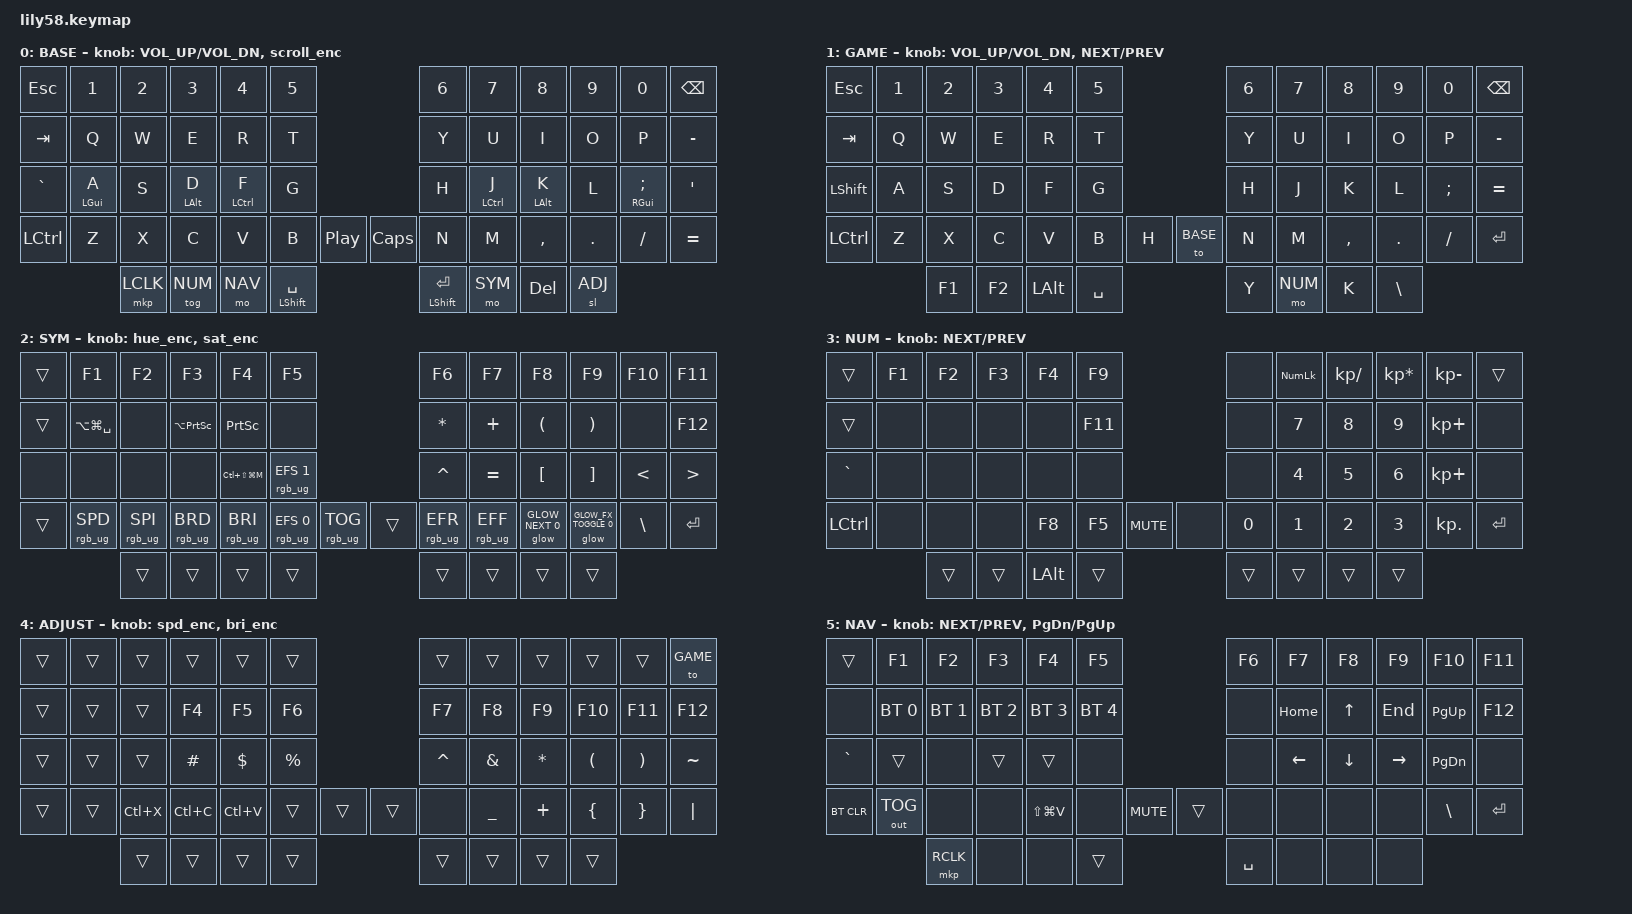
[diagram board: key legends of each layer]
/*
 * Sina's Lily58 keymap, ported from the Lulu QMK keymap
 * (docs/qmk-src/keymap.c and lulu_sina_keymap_cheatsheet_plain_english.html).
 *
 * Rows: 12 / 12 / 12 / 14 (L1-L6, inner left, inner right, R1-R6) / 8 thumbs
 * (T1-T4 left outer to inner, T5-T8 right inner to outer).
 *
 * Knobs: sensor-bindings are <left right>, first value = clockwise.
 */

#include <behaviors.dtsi>
#include <dt-bindings/zmk/keys.h>
#include <dt-bindings/zmk/bt.h>
#include <dt-bindings/zmk/outputs.h>
#include <dt-bindings/zmk/rgb.h>
#include <dt-bindings/zmk/pointing.h>

#define BASE 0
#define GAME 1
#define SYM  2
#define NUM  3
#define ADJ  4
#define NAV  5

/* &glow commands (config/boards/shields/lily_glow/glow.h) */
#define GLOW_NEXT      0
#define GLOW_FX_TOGGLE 2

/* ADJUST is a one-shot like QMK's OSL, which never timed out; give it a minute */
&sl {
    release-after-ms = <60000>;
};

/ {
    behaviors {
        /* Home-row and thumb mods. Balanced = QMK PERMISSIVE_HOLD: F held while
         * another key is tapped resolves as Ctrl (Ctrl+C, not "fc"). */
        hm: home_row_mod {
            compatible = "zmk,behavior-hold-tap";
            #binding-cells = <2>;
            flavor = "balanced";
            tapping-term-ms = <200>;
            quick-tap-ms = <200>;
            bindings = <&kp>, <&kp>;
        };

        /* One wheel step per knob click: &msc only scrolls while held, so hold
         * it 20 ms (one 16 ms tick) at a speed that rounds to one step */
        scroll_enc: scroll_encoder {
            compatible = "zmk,behavior-sensor-rotate";
            #sensor-binding-cells = <0>;
            bindings = <&msc MOVE_Y(-70)>, <&msc MOVE_Y(70)>;
            tap-ms = <20>;
        };

        hue_enc: hue_encoder {
            compatible = "zmk,behavior-sensor-rotate";
            #sensor-binding-cells = <0>;
            bindings = <&rgb_ug RGB_HUI>, <&rgb_ug RGB_HUD>;
        };

        sat_enc: sat_encoder {
            compatible = "zmk,behavior-sensor-rotate";
            #sensor-binding-cells = <0>;
            bindings = <&rgb_ug RGB_SAI>, <&rgb_ug RGB_SAD>;
        };

        spd_enc: speed_encoder {
            compatible = "zmk,behavior-sensor-rotate";
            #sensor-binding-cells = <0>;
            bindings = <&rgb_ug RGB_SPI>, <&rgb_ug RGB_SPD>;
        };

        bri_enc: brightness_encoder {
            compatible = "zmk,behavior-sensor-rotate";
            #sensor-binding-cells = <0>;
            bindings = <&rgb_ug RGB_BRI>, <&rgb_ug RGB_BRD>;
        };
    };

    keymap {
        compatible = "zmk,keymap";

        base_layer {
            display-name = "BASE";
            bindings = <
&kp ESC    &kp N1       &kp N2  &kp N3       &kp N4        &kp N5                              &kp N6  &kp N7        &kp N8       &kp N9  &kp N0        &kp BSPC
&kp TAB    &kp Q        &kp W   &kp E        &kp R         &kp T                               &kp Y   &kp U         &kp I        &kp O   &kp P         &kp MINUS
&kp GRAVE  &hm LGUI A   &kp S   &hm LALT D   &hm LCTRL F   &kp G                               &kp H   &hm LCTRL J   &hm LALT K   &kp L   &hm RGUI SEMI &kp SQT
&kp LCTRL  &kp Z        &kp X   &kp C        &kp V         &kp B    &kp C_PP      &kp CAPS     &kp N   &kp M         &kp COMMA    &kp DOT &kp FSLH      &kp EQUAL
                        &mkp LCLK  &tog NUM  &mo NAV  &hm LSHFT SPACE                   &hm LSHFT RET  &mo SYM  &kp DEL  &sl ADJ
            >;
            sensor-bindings = <&inc_dec_kp C_VOL_UP C_VOL_DN &scroll_enc>;
        };

        game_layer {
            display-name = "GAME";
            bindings = <
&kp ESC    &kp N1  &kp N2  &kp N3  &kp N4  &kp N5                          &kp N6  &kp N7  &kp N8    &kp N9  &kp N0   &kp BSPC
&kp TAB    &kp Q   &kp W   &kp E   &kp R   &kp T                           &kp Y   &kp U   &kp I     &kp O   &kp P    &kp MINUS
&kp LSHFT  &kp A   &kp S   &kp D   &kp F   &kp G                           &kp H   &kp J   &kp K     &kp L   &kp SEMI &kp EQUAL
&kp LCTRL  &kp Z   &kp X   &kp C   &kp V   &kp B   &kp H       &to BASE    &kp N   &kp M   &kp COMMA &kp DOT &kp FSLH &kp RET
                   &kp F1  &kp F2  &kp LALT  &kp SPACE                     &kp Y   &mo NUM  &kp K  &kp BSLH
            >;
            sensor-bindings = <&inc_dec_kp C_VOL_UP C_VOL_DN &inc_dec_kp C_NEXT C_PREV>;
        };

        sym_layer {
            display-name = "SYM";
            bindings = <
&trans  &kp F1             &kp F2         &kp F3           &kp F4                &kp F5                                                  &kp F6          &kp F7          &kp F8      &kp F9     &kp F10  &kp F11
&trans  &kp LA(LG(SPACE))  &none          &kp LA(PSCRN)    &kp PSCRN             &none                                                   &kp ASTRK       &kp PLUS        &kp LPAR    &kp RPAR   &none    &kp F12
&none   &none              &none          &none            &kp LC(LS(LG(M)))     &rgb_ug RGB_EFS_CMD 1                                   &kp CARET       &kp EQUAL       &kp LBKT    &kp RBKT   &kp LT   &kp GT
&trans  &rgb_ug RGB_SPD    &rgb_ug RGB_SPI &rgb_ug RGB_BRD &rgb_ug RGB_BRI       &rgb_ug RGB_EFS_CMD 0  &rgb_ug RGB_TOG  &trans          &rgb_ug RGB_EFR &rgb_ug RGB_EFF &glow GLOW_NEXT 0 &glow GLOW_FX_TOGGLE 0 &kp BSLH &kp RET
                           &trans         &trans           &trans                &trans                                  &trans          &trans          &trans      &trans
            >;
            sensor-bindings = <&hue_enc &sat_enc>;
        };

        num_layer {
            display-name = "NUM";
            bindings = <
&trans     &kp F1  &kp F2  &kp F3  &kp F4  &kp F9                                &none   &kp KP_NUMLOCK &kp KP_SLASH &kp KP_ASTERISK &kp KP_MINUS &trans
&trans     &none   &none   &none   &none   &kp F11                               &none   &kp N7         &kp N8       &kp N9          &kp KP_PLUS  &none
&kp GRAVE  &none   &none   &none   &none   &none                                 &none   &kp N4         &kp N5       &kp N6          &kp KP_PLUS  &none
&kp LCTRL  &none   &none   &none   &kp F8  &kp F5   &kp C_MUTE      &none        &kp N0  &kp N1         &kp N2       &kp N3          &kp KP_DOT   &kp RET
                   &trans  &trans  &kp LALT  &trans                              &trans  &trans  &trans  &trans
            >;
            /* Right knob left out on purpose: an unassigned sensor falls
             * through to the layer below (&trans isn't valid for sensors) */
            sensor-bindings = <&inc_dec_kp C_NEXT C_PREV>;
        };

        adj_layer {
            display-name = "ADJUST";
            bindings = <
&trans  &trans  &trans     &trans     &trans     &trans                          &trans     &trans     &trans     &trans     &trans     &to GAME
&trans  &trans  &trans     &kp F4     &kp F5     &kp F6                          &kp F7     &kp F8     &kp F9     &kp F10    &kp F11    &kp F12
&trans  &trans  &trans     &kp HASH   &kp DLLR   &kp PRCNT                       &kp CARET  &kp AMPS   &kp ASTRK  &kp LPAR   &kp RPAR   &kp TILDE
&trans  &trans  &kp LC(X)  &kp LC(C)  &kp LC(V)  &trans    &trans      &trans    &none      &kp UNDER  &kp PLUS   &kp LBRC   &kp RBRC   &kp PIPE
                &trans     &trans     &trans     &trans                          &trans     &trans     &trans     &trans
            >;
            sensor-bindings = <&spd_enc &bri_enc>;
        };

        nav_layer {
            display-name = "NAV";
            bindings = <
&trans        &kp F1        &kp F2        &kp F3        &kp F4           &kp F5                             &kp F6  &kp F7    &kp F8    &kp F9     &kp F10   &kp F11
&none         &bt BT_SEL 0  &bt BT_SEL 1  &bt BT_SEL 2  &bt BT_SEL 3     &bt BT_SEL 4                       &none   &kp HOME  &kp UP    &kp END    &kp PG_UP &kp F12
&kp GRAVE     &trans        &none         &trans        &trans           &none                              &none   &kp LEFT  &kp DOWN  &kp RIGHT  &kp PG_DN &none
&bt BT_CLR    &out OUT_TOG  &none         &none         &kp LS(LG(V))    &none   &kp C_MUTE     &trans      &none   &none     &none     &none      &kp BSLH  &kp RET
                            &mkp RCLK     &none         &none            &trans                             &kp SPACE  &none  &none  &none
            >;
            sensor-bindings = <&inc_dec_kp C_NEXT C_PREV &inc_dec_kp PG_DN PG_UP>;
        };
    };
};
